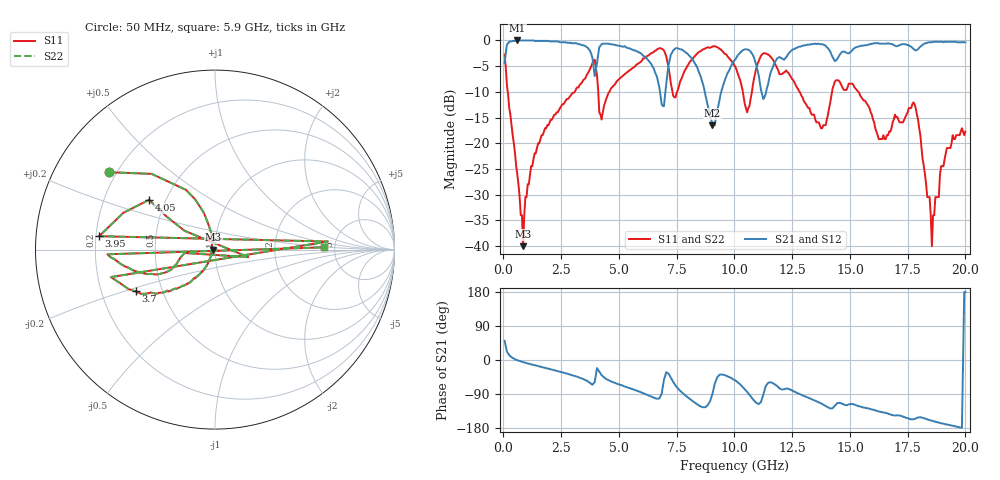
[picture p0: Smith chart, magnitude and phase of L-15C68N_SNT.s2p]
# MHZ S MA R 50
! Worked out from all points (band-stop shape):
!   400 points, 50 MHz to 20 GHz, reference 50 ohm
!   highest |S21| = 0.00 dB at 600 MHz (marker M1); lowest = -16.5 dB at 9.05 GHz (marker M2)
!   |S21| within 3 dB of the highest: 87.07 MHz to 3.826 GHz (3.739 GHz wide, 191 % of centre); 14.53 GHz to end of sweep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
!   lowest |S11| = -40.0 dB at 850 MHz (marker M3), VSWR 1.02, Z = 49 - j0.0462 ohm
!   |S11| at or under -10 dB: 187.4 MHz to 3.081 GHz (2.894 GHz wide, 177 % of centre); 12.82 GHz to 14.23 GHz (1.409 GHz wide, 10.4 % of centre); 15.37 GHz to end of sweep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
!   |S22| runs from -40.0 to -1.1 dB; largest |S21 - S12| = 0
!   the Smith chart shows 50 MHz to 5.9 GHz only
!   S11 on the Smith chart (normalised r, x): 50 MHz: 0.17, +0.32; 3.7 GHz: 0.35, -0.22; 3.95 GHz: 0.21, +0.06; 4.05 GHz: 0.41, +0.29; 5.9 GHz: 4.12, +0.17
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50  0.73 143.8  0.6 50.6  0.6 50.6  0.73 143.8
600  0.05 109.8  1 -0.6  1 -0.6  0.05 109.8
850  0.01 -177.3  1 -5.6  1 -5.6  0.01 -177.3
3400  0.39 -142.0  0.9 -48.8  0.9 -48.8  0.39 -142.0
3700  0.5 -152.3  0.82 -58.3  0.82 -58.3  0.5 -152.3
3850  0.6 -165.2  0.68 -65.4  0.68 -65.4  0.6 -165.2
3900  0.63 4.1  0.56 -61.9  0.56 -61.9  0.63 4.1
3950  0.65 173.4  0.45 -58.3  0.45 -58.3  0.65 173.4
4050  0.46 142.9  0.6 -21.4  0.6 -21.4  0.46 142.9
5850  0.6 -177.5  0.77 -82.8  0.77 -82.8  0.6 -177.5
5900  0.61 1.2  0.76 -83.9  0.76 -83.9  0.61 1.2
5950  0.62 180.0  0.75 -85.0  0.75 -85.0  0.62 180.0
6700  0.83 152.4  0.39 -101.9  0.39 -101.9  0.83 152.4
9050  0.87 100.9  0.15 -89.4  0.15 -89.4  0.87 100.9
10050  0.55 62.9  0.66 -54.3  0.66 -54.3  0.55 62.9
13350  0.19 26.2  0.92 -103.6  0.92 -103.6  0.19 26.2
16700  0.13 76.1  0.93 -142.7  0.93 -142.7  0.13 76.1
18550  0.01 33.9  0.96 -160.3  0.96 -160.3  0.01 33.9
19850  0.14 -54.4  0.96 -178.9  0.96 -178.9  0.14 -54.4
19900  0.13 -53.9  0.96 0.4  0.96 0.4  0.13 -53.9
19950  0.12 -53.3  0.96 179.6  0.96 179.6  0.12 -53.3
20000  0.13 -52.2  0.96 179.1  0.96 179.1  0.13 -52.2
